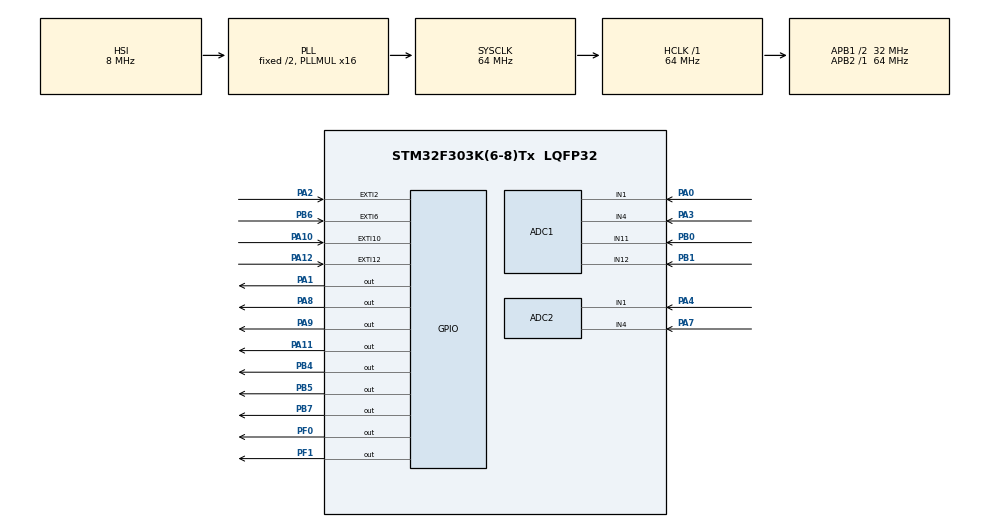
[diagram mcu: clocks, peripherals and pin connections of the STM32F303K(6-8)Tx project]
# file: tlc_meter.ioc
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ADC1.Channel-0\#ChannelRegularConversion=ADC_CHANNEL_12
ADC1.NbrOfConversionFlag=1
ADC1.Offset-0\#ChannelRegularConversion=0
ADC1.OffsetNumber-0\#ChannelRegularConversion=ADC_OFFSET_NONE
ADC1.Rank-0\#ChannelRegularConversion=1
ADC1.SamplingTime-0\#ChannelRegularConversion=ADC_SAMPLETIME_61CYCLES_5
ADC1.master=1
ADC2.Channel-1\#ChannelRegularConversion=ADC_CHANNEL_4
ADC2.NbrOfConversion=1
ADC2.NbrOfConversionFlag=1
ADC2.Offset-1\#ChannelRegularConversion=0
ADC2.OffsetNumber-1\#ChannelRegularConversion=ADC_OFFSET_NONE
ADC2.Rank-1\#ChannelRegularConversion=1
ADC2.SamplingTime-1\#ChannelRegularConversion=ADC_SAMPLETIME_61CYCLES_5
Dma.ADC1.0.Direction=DMA_PERIPH_TO_MEMORY
Dma.ADC1.0.Instance=DMA1_Channel1
Dma.ADC1.0.MemDataAlignment=DMA_MDATAALIGN_WORD
Dma.ADC1.0.MemInc=DMA_MINC_ENABLE
Dma.ADC1.0.Mode=DMA_NORMAL
Dma.ADC1.0.PeriphDataAlignment=DMA_PDATAALIGN_WORD
Dma.ADC1.0.PeriphInc=DMA_PINC_DISABLE
Dma.ADC1.0.Priority=DMA_PRIORITY_MEDIUM
Dma.Request0=ADC1
Mcu.Family=STM32F3
Mcu.Name=STM32F303K(6-8)Tx
Mcu.Package=LQFP32
NVIC.DMA1_Channel1_IRQn=true\:0\:0\:false\:false\:true\:false\:true\:true
NVIC.EXTI15_10_IRQn=true\:0\:0\:false\:false\:true\:true\:true\:true
NVIC.PriorityGroup=NVIC_PRIORITYGROUP_4
PA0.Mode=IN1-Single-Ended
PA0.Signal=ADC1_IN1
PA1.Signal=GPIO_Output
PA10.GPIO_ModeDefaultEXTI=GPIO_MODE_IT_FALLING
PA10.Signal=GPXTI10
PA11.Signal=GPIO_Output
PA12.GPIO_ModeDefaultEXTI=GPIO_MODE_IT_FALLING
PA12.Signal=GPXTI12
PA2.GPIO_ModeDefaultEXTI=GPIO_MODE_IT_FALLING
PA2.GPIO_PuPd=GPIO_PULLUP
PA2.Signal=GPXTI2
PA3.Mode=IN4-Single-Ended
PA3.Signal=ADC1_IN4
PA4.Mode=IN1-Single-Ended
PA4.Signal=ADC2_IN1
PA7.Mode=IN4-Single-Ended
PA7.Signal=ADC2_IN4
PA8.Signal=GPIO_Output
PA9.Signal=GPIO_Output
PB0.Mode=IN11-Single-Ended
PB0.Signal=ADC1_IN11
PB1.Mode=IN12-Single-Ended
PB1.Signal=ADC1_IN12
PB4.Signal=GPIO_Output
PB5.Signal=GPIO_Output
PB6.GPIO_ModeDefaultEXTI=GPIO_MODE_IT_FALLING
PB6.Signal=GPXTI6
PB7.Signal=GPIO_Output
PF0\ /\ OSC_IN.Signal=GPIO_Output
PF1\ /\ OSC_OUT.Signal=GPIO_Output
ProjectManager.HeapSize=0x200
ProjectManager.StackSize=0x400
ProjectManager.TargetToolchain=STM32CubeIDE
RCC.AHBFreq_Value=64000000
RCC.APB1CLKDivider=RCC_HCLK_DIV2
RCC.APB1Freq_Value=32000000
RCC.APB1TimFreq_Value=64000000
RCC.APB2Freq_Value=64000000
RCC.APB2TimFreq_Value=64000000
RCC.CortexFreq_Value=64000000
RCC.HCLKFreq_Value=64000000
RCC.HSE_VALUE=8000000
RCC.HSI_VALUE=8000000
RCC.PLLMUL=RCC_PLL_MUL16
RCC.SYSCLKFreq_VALUE=64000000
RCC.SYSCLKSourceVirtual=RCC_SYSCLKSOURCE_PLLCLK
TIM2.AutoReloadPreload=TIM_AUTORELOAD_PRELOAD_DISABLE
TIM2.Channel-Output\ Compare1\ No\ Output=TIM_CHANNEL_1
TIM2.Prescaler=64-1
TIM3.AutoReloadPreload=TIM_AUTORELOAD_PRELOAD_ENABLE
TIM3.Period=65534-1
TIM3.Prescaler=64-1
TIM3.TIM_MasterOutputTrigger=TIM_TRGO_UPDATE
VP_TIM2_VS_ClockSourceINT.Mode=Internal
VP_TIM2_VS_no_output1.Mode=Output Compare1 No Output
VP_TIM3_VS_ClockSourceINT.Mode=Internal
board=custom

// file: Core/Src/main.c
/* USER CODE BEGIN Header */
/**
  ******************************************************************************
  * @file           : main.c
  * @brief          : Main program body
  ******************************************************************************
  * @attention
  *
  * Copyright (c) 2023 STMicroelectronics.
  * All rights reserved.
  *
  * This software is licensed under terms that can be found in the LICENSE file
  * in the root directory of this software component.
  * If no LICENSE file comes with this software, it is provided AS-IS.
  *
  ******************************************************************************
  */
/* USER CODE END Header */
#include "main.h"

/* USER CODE BEGIN Includes */

#include "capameter.h"
#include "selfmeter.h"
#include "hfemeter.h"
#include "lcd.h"
#include "outils.h"

void start_button_control(void);
void adc_init(void);

/* USER CODE END Includes */

ADC_HandleTypeDef hadc1;
ADC_HandleTypeDef hadc2;
DMA_HandleTypeDef hdma_adc1;

TIM_HandleTypeDef htim2;
TIM_HandleTypeDef htim3;

/* USER CODE BEGIN PV */

uint32_t adc_read[128];

/* USER CODE END PV */

void SystemClock_Config(void);
static void MX_GPIO_Init(void);
static void MX_DMA_Init(void);
static void MX_ADC2_Init(void);
static void MX_TIM2_Init(void);
static void MX_TIM3_Init(void);
static void MX_ADC1_Init(void);

/* USER CODE BEGIN 0 */

void HAL_ADC_ConvCpltCallback(ADC_HandleTypeDef* hadc) {
	if (hadc->ErrorCode) {

	}
}

/* USER CODE END 0 */

int main(void)
{

  /* MCU Configuration--------------------------------------------------------*/

  /* Reset of all peripherals, Initializes the Flash interface and the Systick. */
  HAL_Init();

  /* Configure the system clock */
  SystemClock_Config();

  /* Initialize all configured peripherals */
  MX_GPIO_Init();
  MX_DMA_Init();
  MX_ADC2_Init();
  MX_TIM2_Init();
  MX_TIM3_Init();
  MX_ADC1_Init();
  /* USER CODE BEGIN 2 */

  HAL_TIM_Base_Start(&htim2);
  HAL_ADCEx_Calibration_Start(&hadc2, ADC_SINGLE_ENDED);
  HAL_ADCEx_Calibration_Start(&hadc1, ADC_SINGLE_ENDED);
  //HAL_TIMEx_PWMN_Start(&htim3, TIM_CHANNEL_4);
  lcd_init();
  adc_init();
  //HAL_ADC_Start_DMA(&hadc2, adc_read, 128);

  /* USER CODE END 2 */

  /* Infinite loop */
  /* USER CODE BEGIN WHILE */
  while (1)
  {
	  start_button_control();

    /* USER CODE END WHILE */

  }
}

void SystemClock_Config(void)
{
  RCC_OscInitTypeDef RCC_OscInitStruct = {0};
  RCC_ClkInitTypeDef RCC_ClkInitStruct = {0};
  RCC_PeriphCLKInitTypeDef PeriphClkInit = {0};

  /** Initializes the RCC Oscillators according to the specified parameters
  * in the RCC_OscInitTypeDef structure.
  */
  RCC_OscInitStruct.OscillatorType = RCC_OSCILLATORTYPE_HSI;
  RCC_OscInitStruct.HSIState = RCC_HSI_ON;
  RCC_OscInitStruct.HSICalibrationValue = RCC_HSICALIBRATION_DEFAULT;
  RCC_OscInitStruct.PLL.PLLState = RCC_PLL_ON;
  RCC_OscInitStruct.PLL.PLLSource = RCC_PLLSOURCE_HSI;
  RCC_OscInitStruct.PLL.PLLMUL = RCC_PLL_MUL16;
  if (HAL_RCC_OscConfig(&RCC_OscInitStruct) != HAL_OK)
  {
    Error_Handler();
  }

  /** Initializes the CPU, AHB and APB buses clocks
  */
  RCC_ClkInitStruct.ClockType = RCC_CLOCKTYPE_HCLK|RCC_CLOCKTYPE_SYSCLK
                              |RCC_CLOCKTYPE_PCLK1|RCC_CLOCKTYPE_PCLK2;
  RCC_ClkInitStruct.SYSCLKSource = RCC_SYSCLKSOURCE_PLLCLK;
  RCC_ClkInitStruct.AHBCLKDivider = RCC_SYSCLK_DIV1;
  RCC_ClkInitStruct.APB1CLKDivider = RCC_HCLK_DIV2;
  RCC_ClkInitStruct.APB2CLKDivider = RCC_HCLK_DIV1;

  if (HAL_RCC_ClockConfig(&RCC_ClkInitStruct, FLASH_LATENCY_2) != HAL_OK)
  {
    Error_Handler();
  }
  PeriphClkInit.PeriphClockSelection = RCC_PERIPHCLK_ADC12;
  PeriphClkInit.Adc12ClockSelection = RCC_ADC12PLLCLK_DIV1;
  if (HAL_RCCEx_PeriphCLKConfig(&PeriphClkInit) != HAL_OK)
  {
    Error_Handler();
  }
}

static void MX_ADC1_Init(void)
{

  ADC_MultiModeTypeDef multimode = {0};
  ADC_ChannelConfTypeDef sConfig = {0};

  /** Common config
  */
  hadc1.Instance = ADC1;
  hadc1.Init.ClockPrescaler = ADC_CLOCK_ASYNC_DIV1;
  hadc1.Init.Resolution = ADC_RESOLUTION_12B;
  hadc1.Init.ScanConvMode = ADC_SCAN_DISABLE;
  hadc1.Init.ContinuousConvMode = DISABLE;
  hadc1.Init.DiscontinuousConvMode = DISABLE;
  hadc1.Init.ExternalTrigConvEdge = ADC_EXTERNALTRIGCONVEDGE_NONE;
  hadc1.Init.ExternalTrigConv = ADC_SOFTWARE_START;
  hadc1.Init.DataAlign = ADC_DATAALIGN_RIGHT;
  hadc1.Init.NbrOfConversion = 1;
  hadc1.Init.DMAContinuousRequests = DISABLE;
  hadc1.Init.EOCSelection = ADC_EOC_SINGLE_CONV;
  hadc1.Init.LowPowerAutoWait = DISABLE;
  hadc1.Init.Overrun = ADC_OVR_DATA_OVERWRITTEN;
  if (HAL_ADC_Init(&hadc1) != HAL_OK)
  {
    Error_Handler();
  }

  /** Configure the ADC multi-mode
  */
  multimode.Mode = ADC_MODE_INDEPENDENT;
  if (HAL_ADCEx_MultiModeConfigChannel(&hadc1, &multimode) != HAL_OK)
  {
    Error_Handler();
  }

  /** Configure Regular Channel
  */
  sConfig.Channel = ADC_CHANNEL_12;
  sConfig.Rank = ADC_REGULAR_RANK_1;
  sConfig.SingleDiff = ADC_SINGLE_ENDED;
  sConfig.SamplingTime = ADC_SAMPLETIME_61CYCLES_5;
  sConfig.OffsetNumber = ADC_OFFSET_NONE;
  sConfig.Offset = 0;
  if (HAL_ADC_ConfigChannel(&hadc1, &sConfig) != HAL_OK)
  {
    Error_Handler();
  }

}

static void MX_ADC2_Init(void)
{

  ADC_ChannelConfTypeDef sConfig = {0};

  /** Common config
  */
  hadc2.Instance = ADC2;
  hadc2.Init.ClockPrescaler = ADC_CLOCK_ASYNC_DIV1;
  hadc2.Init.Resolution = ADC_RESOLUTION_12B;
  hadc2.Init.ScanConvMode = ADC_SCAN_DISABLE;
  hadc2.Init.ContinuousConvMode = DISABLE;
  hadc2.Init.DiscontinuousConvMode = DISABLE;
  hadc2.Init.ExternalTrigConvEdge = ADC_EXTERNALTRIGCONVEDGE_NONE;
  hadc2.Init.ExternalTrigConv = ADC_SOFTWARE_START;
  hadc2.Init.DataAlign = ADC_DATAALIGN_RIGHT;
  hadc2.Init.NbrOfConversion = 1;
  hadc2.Init.DMAContinuousRequests = DISABLE;
  hadc2.Init.EOCSelection = ADC_EOC_SINGLE_CONV;
  hadc2.Init.LowPowerAutoWait = DISABLE;
  hadc2.Init.Overrun = ADC_OVR_DATA_OVERWRITTEN;
  if (HAL_ADC_Init(&hadc2) != HAL_OK)
  {
    Error_Handler();
  }

  /** Configure Regular Channel
  */
  sConfig.Channel = ADC_CHANNEL_4;
  sConfig.Rank = ADC_REGULAR_RANK_1;
  sConfig.SingleDiff = ADC_SINGLE_ENDED;
  sConfig.SamplingTime = ADC_SAMPLETIME_61CYCLES_5;
  sConfig.OffsetNumber = ADC_OFFSET_NONE;
  sConfig.Offset = 0;
  if (HAL_ADC_ConfigChannel(&hadc2, &sConfig) != HAL_OK)
  {
    Error_Handler();
  }

}

static void MX_TIM2_Init(void)
{

  TIM_ClockConfigTypeDef sClockSourceConfig = {0};
  TIM_MasterConfigTypeDef sMasterConfig = {0};
  TIM_OC_InitTypeDef sConfigOC = {0};

  htim2.Instance = TIM2;
  htim2.Init.Prescaler = 64-1;
  htim2.Init.CounterMode = TIM_COUNTERMODE_UP;
  htim2.Init.Period = 4294967295;
  htim2.Init.ClockDivision = TIM_CLOCKDIVISION_DIV1;
  htim2.Init.AutoReloadPreload = TIM_AUTORELOAD_PRELOAD_DISABLE;
  if (HAL_TIM_Base_Init(&htim2) != HAL_OK)
  {
    Error_Handler();
  }
  sClockSourceConfig.ClockSource = TIM_CLOCKSOURCE_INTERNAL;
  if (HAL_TIM_ConfigClockSource(&htim2, &sClockSourceConfig) != HAL_OK)
  {
    Error_Handler();
  }
  if (HAL_TIM_OC_Init(&htim2) != HAL_OK)
  {
    Error_Handler();
  }
  sMasterConfig.MasterOutputTrigger = TIM_TRGO_RESET;
  sMasterConfig.MasterSlaveMode = TIM_MASTERSLAVEMODE_DISABLE;
  if (HAL_TIMEx_MasterConfigSynchronization(&htim2, &sMasterConfig) != HAL_OK)
  {
    Error_Handler();
  }
  sConfigOC.OCMode = TIM_OCMODE_TIMING;
  sConfigOC.Pulse = 0;
  sConfigOC.OCPolarity = TIM_OCPOLARITY_HIGH;
  sConfigOC.OCFastMode = TIM_OCFAST_DISABLE;
  if (HAL_TIM_OC_ConfigChannel(&htim2, &sConfigOC, TIM_CHANNEL_1) != HAL_OK)
  {
    Error_Handler();
  }

}

static void MX_TIM3_Init(void)
{

  TIM_ClockConfigTypeDef sClockSourceConfig = {0};
  TIM_MasterConfigTypeDef sMasterConfig = {0};

  htim3.Instance = TIM3;
  htim3.Init.Prescaler = 64-1;
  htim3.Init.CounterMode = TIM_COUNTERMODE_UP;
  htim3.Init.Period = 65534-1;
  htim3.Init.ClockDivision = TIM_CLOCKDIVISION_DIV1;
  htim3.Init.AutoReloadPreload = TIM_AUTORELOAD_PRELOAD_ENABLE;
  if (HAL_TIM_Base_Init(&htim3) != HAL_OK)
  {
    Error_Handler();
  }
  sClockSourceConfig.ClockSource = TIM_CLOCKSOURCE_INTERNAL;
  if (HAL_TIM_ConfigClockSource(&htim3, &sClockSourceConfig) != HAL_OK)
  {
    Error_Handler();
  }
  sMasterConfig.MasterOutputTrigger = TIM_TRGO_UPDATE;
  sMasterConfig.MasterSlaveMode = TIM_MASTERSLAVEMODE_DISABLE;
  if (HAL_TIMEx_MasterConfigSynchronization(&htim3, &sMasterConfig) != HAL_OK)
  {
    Error_Handler();
  }

}

static void MX_DMA_Init(void)
{

  /* DMA controller clock enable */
  __HAL_RCC_DMA1_CLK_ENABLE();

  /* DMA interrupt init */
  /* DMA1_Channel1_IRQn interrupt configuration */
  HAL_NVIC_SetPriority(DMA1_Channel1_IRQn, 0, 0);
  HAL_NVIC_EnableIRQ(DMA1_Channel1_IRQn);

}

static void MX_GPIO_Init(void)
{
  GPIO_InitTypeDef GPIO_InitStruct = {0};

  /* GPIO Ports Clock Enable */
  __HAL_RCC_GPIOF_CLK_ENABLE();
  __HAL_RCC_GPIOA_CLK_ENABLE();
  __HAL_RCC_GPIOB_CLK_ENABLE();

  /*Configure GPIO pin Output Level */
  HAL_GPIO_WritePin(GPIOF, GPIO_PIN_0|GPIO_PIN_1, GPIO_PIN_RESET);

  /*Configure GPIO pin Output Level */
  HAL_GPIO_WritePin(GPIOA, GPIO_PIN_1|GPIO_PIN_8|GPIO_PIN_9|GPIO_PIN_11, GPIO_PIN_RESET);

  /*Configure GPIO pin Output Level */
  HAL_GPIO_WritePin(GPIOB, GPIO_PIN_4|GPIO_PIN_5|GPIO_PIN_7, GPIO_PIN_RESET);

  /*Configure GPIO pins : PF0 PF1 */
  GPIO_InitStruct.Pin = GPIO_PIN_0|GPIO_PIN_1;
  GPIO_InitStruct.Mode = GPIO_MODE_OUTPUT_PP;
  GPIO_InitStruct.Pull = GPIO_NOPULL;
  GPIO_InitStruct.Speed = GPIO_SPEED_FREQ_LOW;
  HAL_GPIO_Init(GPIOF, &GPIO_InitStruct);

  /*Configure GPIO pins : PA1 PA8 PA9 PA11 */
  GPIO_InitStruct.Pin = GPIO_PIN_1|GPIO_PIN_8|GPIO_PIN_9|GPIO_PIN_11;
  GPIO_InitStruct.Mode = GPIO_MODE_OUTPUT_PP;
  GPIO_InitStruct.Pull = GPIO_NOPULL;
  GPIO_InitStruct.Speed = GPIO_SPEED_FREQ_LOW;
  HAL_GPIO_Init(GPIOA, &GPIO_InitStruct);

  /*Configure GPIO pin : PA2 */
  GPIO_InitStruct.Pin = GPIO_PIN_2;
  GPIO_InitStruct.Mode = GPIO_MODE_IT_FALLING;
  GPIO_InitStruct.Pull = GPIO_PULLUP;
  HAL_GPIO_Init(GPIOA, &GPIO_InitStruct);

  /*Configure GPIO pins : PA10 PA12 */
  GPIO_InitStruct.Pin = GPIO_PIN_10|GPIO_PIN_12;
  GPIO_InitStruct.Mode = GPIO_MODE_IT_FALLING;
  GPIO_InitStruct.Pull = GPIO_NOPULL;
  HAL_GPIO_Init(GPIOA, &GPIO_InitStruct);

  /*Configure GPIO pins : PB4 PB5 PB7 */
  GPIO_InitStruct.Pin = GPIO_PIN_4|GPIO_PIN_5|GPIO_PIN_7;
  GPIO_InitStruct.Mode = GPIO_MODE_OUTPUT_PP;
  GPIO_InitStruct.Pull = GPIO_NOPULL;
  GPIO_InitStruct.Speed = GPIO_SPEED_FREQ_LOW;
  HAL_GPIO_Init(GPIOB, &GPIO_InitStruct);

  /*Configure GPIO pin : PB6 */
  GPIO_InitStruct.Pin = GPIO_PIN_6;
  GPIO_InitStruct.Mode = GPIO_MODE_IT_FALLING;
  GPIO_InitStruct.Pull = GPIO_NOPULL;
  HAL_GPIO_Init(GPIOB, &GPIO_InitStruct);

  /* EXTI interrupt init*/
  HAL_NVIC_SetPriority(EXTI15_10_IRQn, 0, 0);
  HAL_NVIC_EnableIRQ(EXTI15_10_IRQn);

}

void Error_Handler(void)
{
  __disable_irq();
  while (1)
  {
  }
}
